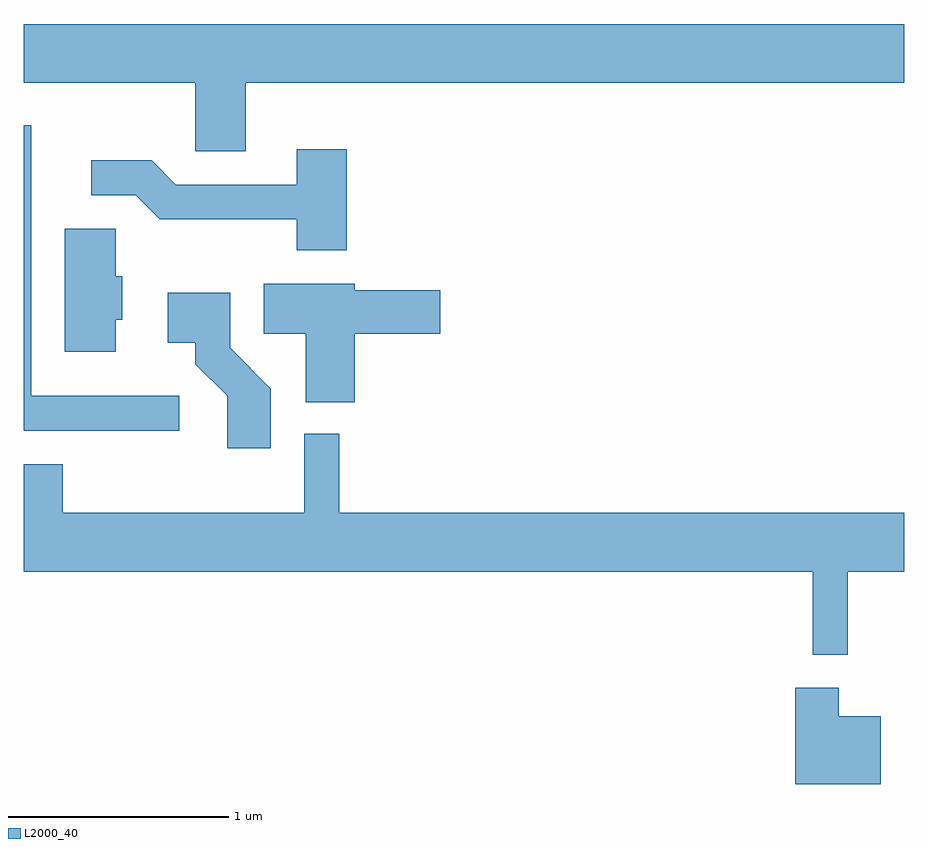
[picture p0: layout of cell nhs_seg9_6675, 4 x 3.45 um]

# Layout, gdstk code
import gdstk
lib = gdstk.Library(unit=1e-6, precision=1e-09)
def P(c, l, *ps):  # polygons
    for p in ps: c.add(gdstk.Polygon(p, *l))
L2000_40 = (2000, 40)

nhs_seg9_6675 = lib.new_cell('nhs_seg9_6675')
P(nhs_seg9_6675, L2000_40, [(382.619,2051.756),(385.611,2051.756),(385.611,2052.024),(381.611,2052.024),(381.611,2051.756),(382.391,2051.756),(382.391,2051.446),(382.619,2051.446)],
  [(382.318,2050.334),(381.644,2050.334),(381.644,2051.564),(381.611,2051.564),(381.611,2050.176),(382.318,2050.176)],
  [(383.079,2051.454),(382.851,2051.454),(382.851,2051.294),(382.302,2051.294),(382.192,2051.404),(381.918,2051.404),(381.918,2051.246),(382.119,2051.246),(382.229,2051.136),(382.851,2051.136),(382.851,2050.996),(383.079,2050.996)],
  [(382.029,2050.681),(382.059,2050.681),(382.059,2050.879),(382.029,2050.879),(382.029,2051.094),(381.796,2051.094),(381.796,2050.536),(382.029,2050.536)],
  [(383.114,2050.616),(383.504,2050.616),(383.504,2050.814),(383.114,2050.814),(383.114,2050.844),(382.701,2050.844),(382.701,2050.616),(382.891,2050.616),(382.891,2050.306),(383.114,2050.306)],
  [(382.734,2050.367),(382.549,2050.552),(382.549,2050.804),(382.266,2050.804),(382.266,2050.576),(382.391,2050.576),(382.391,2050.479),(382.536,2050.334),(382.536,2050.096),(382.734,2050.096)],
  [(385.354,2049.536),(385.611,2049.536),(385.611,2049.804),(383.044,2049.804),(383.044,2050.163),(382.886,2050.163),(382.886,2049.804),(381.789,2049.804),(381.789,2050.024),(381.611,2050.024),(381.611,2049.536),(385.196,2049.536),(385.196,2049.158),(385.354,2049.158)],
  [(385.504,2048.879),(385.314,2048.879),(385.314,2049.009),(385.116,2049.009),(385.116,2048.571),(385.504,2048.571)])

lib.write_gds('nhs_seg9_6675.gds')
